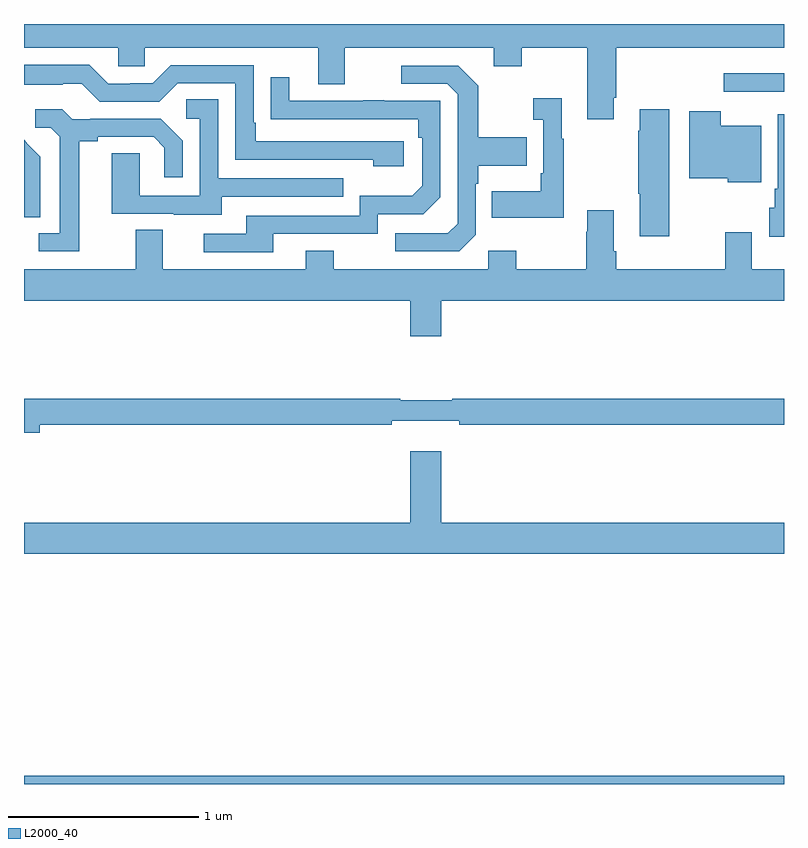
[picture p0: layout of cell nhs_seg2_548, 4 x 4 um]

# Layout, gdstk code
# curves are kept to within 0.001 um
import gdstk
lib = gdstk.Library(unit=1e-6, precision=1e-09)
def R(c, l, rs):  # rectangles x0, y0, x1, y1
    for r in rs: c.add(gdstk.rectangle(r[:2], r[2:], *l))
def P(c, l, *ps):  # polygons
    for p in ps: c.add(gdstk.Polygon(p, *l))
L2000_40 = (2000, 40)

nhs_seg2_548 = lib.new_cell('nhs_seg2_548')
R(nhs_seg2_548, L2000_40, [(139,603.8,143,603.844), (142.683,607.443,143,607.54)])
P(nhs_seg2_548, L2000_40, [(142.105,607.411),(142.118,607.411),(142.118,607.676),(143,607.676),(143,607.8),(139,607.8),(139,607.676),(139.497,607.676),(139.497,607.578),(139.635,607.578),(139.635,607.676),(140.549,607.676),(140.549,607.482),(140.689,607.482),(140.689,607.676),(141.473,607.676),(141.473,607.577),(141.621,607.577),(141.621,607.676),(141.965,607.676),(141.965,607.299),(142.105,607.299)],
  [(140.998,607.182),(140.221,607.182),(140.221,607.279),(140.208,607.279),(140.208,607.584),(139.773,607.584),(139.677,607.488),(139.559,607.488),(139.559,607.485),(139.443,607.485),(139.343,607.585),(139,607.585),(139,607.481),(139.205,607.481),(139.205,607.485),(139.305,607.485),(139.398,607.392),(139.713,607.392),(139.809,607.488),(140.112,607.488),(140.112,607.086),(140.837,607.086),(140.837,607.052),(140.998,607.052)],
  [(141.378,606.69),(141.378,606.959),(141.391,606.959),(141.391,607.055),(141.647,607.055),(141.647,607.203),(141.391,607.203),(141.391,607.475),(141.285,607.581),(140.985,607.581),(140.985,607.485),(141.228,607.485),(141.282,607.431),(141.282,606.75),(141.231,606.699),(140.955,606.699),(140.955,606.603),(141.291,606.603)],
  [(140.311,606.696),(140.862,606.696),(140.862,606.798),(141.102,606.798),(141.192,606.888),(141.192,607.395),(140.897,607.395),(140.897,607.4),(140.785,607.4),(140.785,607.395),(140.395,607.395),(140.395,607.519),(140.299,607.519),(140.299,607.3),(141.076,607.299),(141.076,607.202),(141.096,607.202),(141.096,606.948),(141.043,606.895),(140.766,606.895),(140.766,606.792),(140.171,606.792),(140.171,606.696),(139.947,606.696),(139.947,606.6),(140.311,606.6)],
  [(141.841,607.195),(141.829,607.195),(141.829,607.408),(141.681,607.408),(141.681,607.295),(141.732,607.295),(141.732,607.015),(141.72,607.015),(141.72,606.919),(141.463,606.919),(141.463,606.779),(141.841,606.779)],
  [(140.041,606.891),(140.681,606.891),(140.681,606.987),(140.022,606.987),(140.022,607.403),(139.854,607.403),(139.854,607.302),(139.926,607.302),(139.926,606.897),(139.608,606.897),(139.608,607.121),(139.463,607.121),(139.463,606.801),(139.787,606.801),(139.787,606.797),(140.041,606.797)],
  [(142.396,607.351),(142.241,607.351),(142.241,607.238),(142.234,607.238),(142.234,606.907),(142.241,606.907),(142.241,606.684),(142.396,606.684)],
  [(139.291,607.184),(139.387,607.184),(139.387,607.206),(139.682,607.206),(139.739,607.149),(139.739,606.993),(139.836,606.993),(139.836,607.186),(139.72,607.302),(139.348,607.302),(139.348,607.299),(139.254,607.299),(139.202,607.351),(139.059,607.351),(139.059,607.254),(139.14,607.254),(139.187,607.207),(139.187,606.699),(139.077,606.699),(139.077,606.603),(139.291,606.603)],
  [(142.879,607.264),(142.668,607.264),(142.668,607.342),(142.502,607.342),(142.502,606.989),(142.704,606.989),(142.704,606.968),(142.879,606.968)],
  [(143,607.324),(142.967,607.324),(142.967,606.934),(142.952,606.934),(142.952,606.834),(142.922,606.834),(142.922,606.68),(143,606.68)],
  [(139.086,607.102),(139.013,607.175),(139.014,607.176),(139,607.19),(139,606.784),(139.086,606.784)],
  [(143,606.508),(142.831,606.508),(142.831,606.703),(142.691,606.703),(142.691,606.508),(142.118,606.508),(142.118,606.604),(142.105,606.604),(142.105,606.82),(141.965,606.82),(141.965,606.707),(141.958,606.707),(141.958,606.508),(141.591,606.508),(141.591,606.607),(141.444,606.607),(141.444,606.508),(140.631,606.508),(140.631,606.607),(140.483,606.607),(140.483,606.508),(139.729,606.508),(139.729,606.716),(139.589,606.716),(139.589,606.508),(139,606.508),(139,606.344),(141.032,606.344),(141.032,606.156),(141.196,606.156),(141.196,606.344),(143,606.344)],
  [(139.084,605.692),(140.936,605.692),(140.936,605.711),(141.292,605.711),(141.292,605.692),(143,605.692),(143,605.828),(141.254,605.828),(141.254,605.821),(140.98,605.821),(140.98,605.828),(139,605.828),(139,605.65),(139.084,605.65)],
  [(143,605.176),(141.196,605.176),(141.196,605.551),(141.032,605.551),(141.032,605.176),(139,605.176),(139,605.012),(143,605.012)])

lib.write_gds('nhs_seg2_548.gds')
